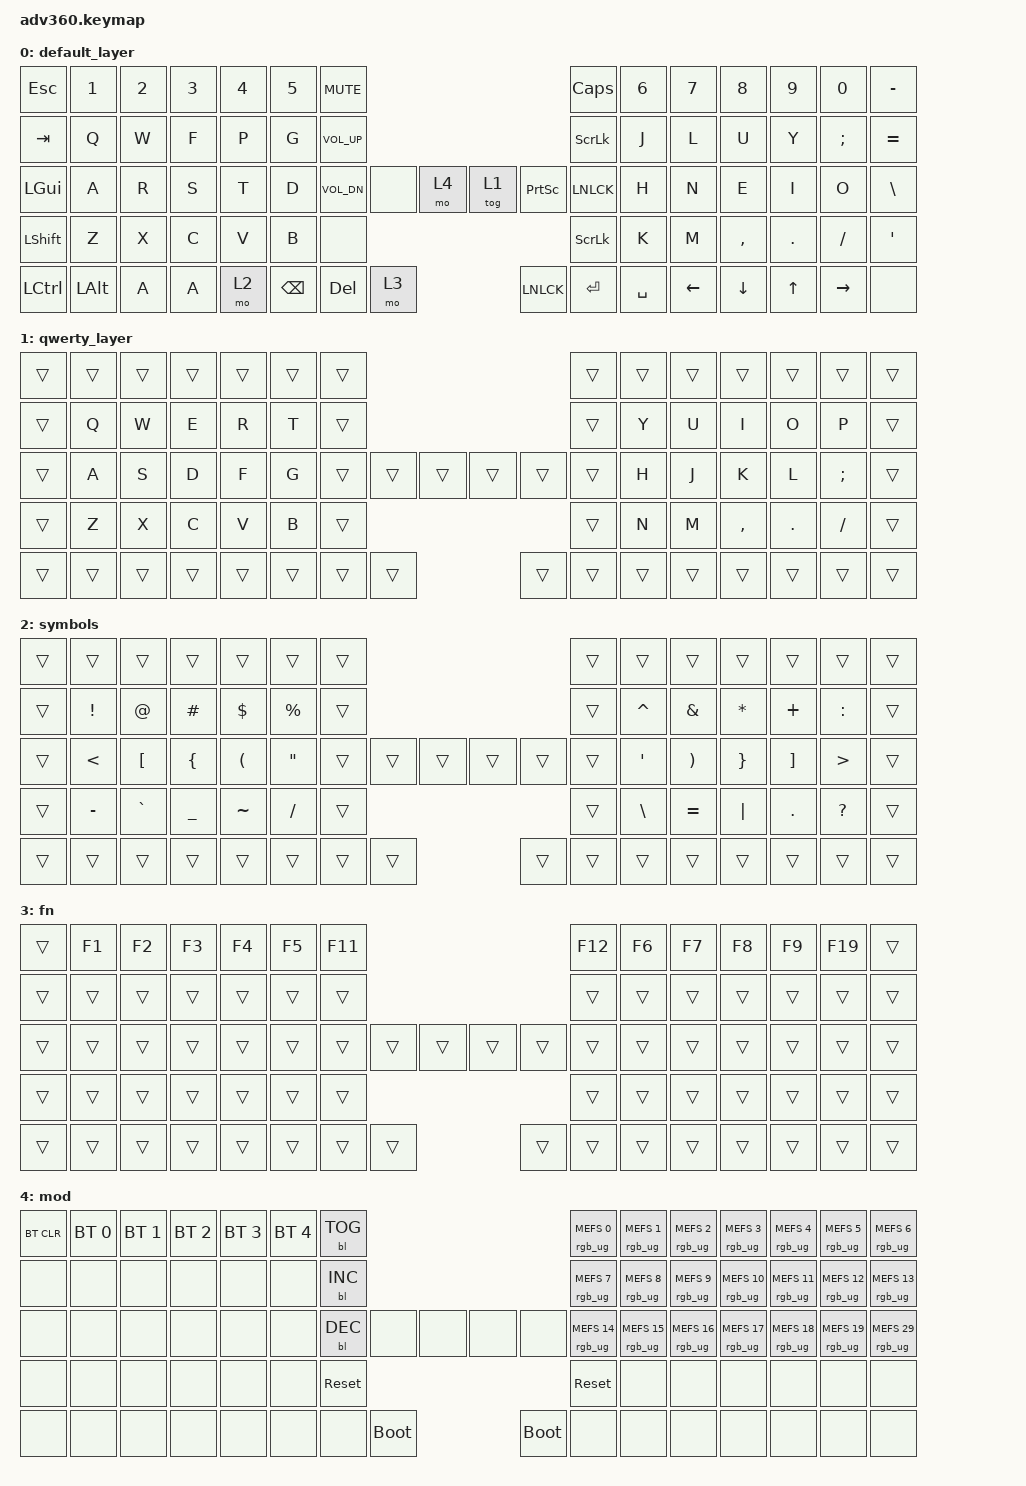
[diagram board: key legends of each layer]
#include <behaviors.dtsi>
#include <dt-bindings/zmk/keys.h>
#include <dt-bindings/zmk/bt.h>
#include <dt-bindings/zmk/rgb.h>
#include <dt-bindings/zmk/backlight.h>

/ {
    behaviors {
      #include "macros.dtsi"

      hm: homerow_mods {
          compatible = "zmk,behavior-hold-tap";
          label = "HOMEROW_MODS";
          #binding-cells = <2>;
          tapping-term-ms = <200>;
          quick_tap_ms = <175>;
          flavor = "tap-preferred";
          bindings = <&kp>, <&kp>;
      };
    };

  keymap {
    compatible = "zmk,keymap";

/* Kinesis Advantage 360 Pro KEY MATRIX / LAYOUT MAPPING
 ╭────────────────────╮              ╭────────────────────╮
 │ 0  1  2  3  4  5  6│              │ 7  8  9 10 11 12 13│
 │14 15 16 17 18 19 20│              │21 22 23 24 25 26 27│
 │28 29 30 31 32 33 34│╭─────╮╭─────╮│39 40 41 42 43 44 45│
 │46 47 48 49 50 51╭──╯│35 36││37 38│╰──╮54 55 56 57 58 59│
 │60 61 62 63 64╭──╯╭──╯   52││53   ╰──╮╰──╮71 72 73 74 75│
 ╰──────────────╯   │65 66 67││68 69 70│   ╰──────────────╯
                    ╰────────╯╰────────╯
*/
#define KEYS_L 0 1 2 3 4 5 6 14 15 16 17 18 19 20 28 29 30 31 32 33 34 46 47 48 49 50 51 60 61 62 63 64
#define KEYS_R 7 8 9 10 11 12 13 21 22 23 24 25 26 27 39 40 41 42 43 44 45 54 55 56 57 58 59 71 72 73 74 75
#define KEYS_T 35 36 37 38 52 53 65 66 67 68 69 70

    default_layer {
      bindings = <
// ╭─────────┬────────┬────────┬────────┬─────────┬──────┬──────╮                                                            ╭─────┬──────┬────────┬─────────┬────────┬─────────┬─────────╮ 
    &kp ESC   &kp N1   &kp N2   &kp N3   &kp N4    &kp N5 &kp C_MUTE                                                       &kp CAPS &kp N6 &kp N7   &kp N8    &kp N9   &kp N0    &kp MINUS
// ├─────────┼────────┼────────┼────────┼─────────┼──────┼──────┤                                                            ├─────┼──────┼────────┼─────────┼────────┼─────────┼─────────┤ 
    &kp TAB   &kp Q    &kp W    &kp F    &kp P     &kp G  &kp C_VOL_UP                                                     &kp SLCK &kp J  &kp L    &kp U     &kp Y    &kp SEMI  &kp EQUAL
// ├─────────┼────────┼────────┼────────┼─────────┼──────┼──────┤         ╭─────────┬────────╮╭─────────┬─────────╮          ├─────┼──────┼────────┼─────────┼────────┼─────────┼─────────┤
    &kp LGUI  &kp A    &kp R    &kp S    &kp T     &kp D  &kp C_VOL_DN     &none     &mo 4     &tog 1    &kp PSCRN        &kp LNLCK &kp H  &kp N    &kp E     &kp I    &kp O     &kp BSLH
// ├─────────┼────────┼────────┼────────┼─────────┼──────┼──────╯╭────────┼─────────┼────────┤├─────────┼─────────┼─────────╮╰─────┼──────┼────────┼─────────┼────────┼─────────┼─────────┤
    &kp LSHFT &kp Z    &kp X    &kp C    &kp V     &kp B                             &none     &kp SLCK                           &kp K  &kp M    &kp COMMA &kp DOT  &kp FSLH  &kp SQT
// ├─────────┼────────┼────────┼────────┼─────────┼──────╯       │        │         ├────────┤├─────────┤         │         │      ╰──────┼────────┼─────────┼────────┼─────────┼─────────┤
    &kp LCTRL &kp LALT &kp A    &kp A    &mo 2                    &kp BSPC &kp DEL   &mo 3     &kp LNLCK &kp ENTER &kp SPACE               &kp LEFT &kp DOWN  &kp UP   &kp RIGHT &none
// ╰─────────┴────────┴────────┴────────┴─────────╯              ╰────────┴─────────┴────────╯╰─────────┴─────────┴─────────╯             ╰────────┴─────────┴────────┴─────────┴─────────╯
      >;
    };
    qwerty_layer {
      bindings = <
// ╭─────────┬────────┬────────┬────────┬─────────┬──────┬──────╮                                                            ╭─────┬──────┬────────┬─────────┬────────┬─────────┬─────────╮ 
    &trans    &trans   &trans   &trans   &trans    &trans &trans                                                             &trans &trans &trans   &trans    &trans   &trans    &trans
// ├─────────┼────────┼────────┼────────┼─────────┼──────┼──────┤                                                            ├─────┼──────┼────────┼─────────┼────────┼─────────┼─────────┤ 
    &trans    &kp Q    &kp W    &kp E    &kp R     &kp T  &trans                                                              &trans &kp Y  &kp U    &kp I     &kp O    &kp P     &trans
// ├─────────┼────────┼────────┼────────┼─────────┼──────┼──────┤         ╭─────────┬────────╮╭─────────┬─────────╮          ├─────┼──────┼────────┼─────────┼────────┼─────────┼─────────┤
    &trans    &kp A    &kp S    &kp D    &kp F     &kp G  &trans            &trans    &trans    &trans    &trans              &trans &kp H  &kp J    &kp K     &kp L    &kp SEMI  &trans
// ├─────────┼────────┼────────┼────────┼─────────┼──────┼──────╯╭────────┼─────────┼────────┤├─────────┼─────────┼─────────╮╰─────┼──────┼────────┼─────────┼────────┼─────────┼─────────┤
    &trans    &kp Z    &kp X    &kp C    &kp V     &kp B                             &trans    &trans                               &kp N  &kp M    &kp COMMA &kp DOT  &kp FSLH  &trans
// ├─────────┼────────┼────────┼────────┼─────────┼──────╯       │        │         ├────────┤├─────────┤         │         │      ╰──────┼────────┼─────────┼────────┼─────────┼─────────┤
    &trans    &trans   &trans   &trans   &trans                   &trans   &trans    &trans    &trans    &trans    &trans                  &trans   &trans    &trans   &trans    &trans
// ╰─────────┴────────┴────────┴────────┴─────────╯              ╰────────┴─────────┴────────╯╰─────────┴─────────┴─────────╯             ╰────────┴─────────┴────────┴─────────┴─────────╯
      >;
    };
    symbols {
      bindings = <
// ╭─────────┬────────┬────────┬────────┬─────────┬──────┬──────╮                                                            ╭─────┬──────┬────────┬─────────┬────────┬─────────┬─────────╮ 
    &trans    &trans   &trans   &trans   &trans    &trans &trans                                                             &trans &trans &trans   &trans    &trans   &trans    &trans
// ├─────────┼────────┼────────┼────────┼─────────┼──────┼──────┤                                                            ├─────┼──────┼────────┼─────────┼────────┼─────────┼─────────┤ 
    &trans &kp EXCL &kp AT &kp HASH &kp DOLLAR &kp PERCENT &trans                                                            &trans &kp CARET &kp AMPS &kp STAR &kp PLUS &kp COLON  &trans
// ├─────────┼────────┼────────┼────────┼─────────┼──────┼──────┤         ╭─────────┬────────╮╭─────────┬─────────╮          ├─────┼──────┼────────┼─────────┼────────┼─────────┼─────────┤
    &trans    &kp LT   &kp LBKT &kp LBRC &kp LPAR &kp DQT &trans           &trans    &trans    &trans    &trans              &trans &kp SQT &kp RPAR &kp RBRC &kp RBKT &kp GT    &trans
// ├─────────┼────────┼────────┼────────┼─────────┼──────┼──────╯╭────────┼─────────┼────────┤├─────────┼─────────┼─────────╮╰─────┼──────┼────────┼─────────┼────────┼─────────┼─────────┤
    &trans &kp MINUS &kp GRAVE &kp UNDER &kp TILDE &kp FSLH                          &trans    &trans                             &kp BSLH &kp EQUAL &kp PIPE &kp DOT  &kp QMARK &trans
// ├─────────┼────────┼────────┼────────┼─────────┼──────╯       │        │         ├────────┤├─────────┤         │         │      ╰──────┼────────┼─────────┼────────┼─────────┼─────────┤
    &trans    &trans   &trans   &trans   &trans                   &trans   &trans    &trans    &trans    &trans    &trans                  &trans   &trans    &trans   &trans    &trans
// ╰─────────┴────────┴────────┴────────┴─────────╯              ╰────────┴─────────┴────────╯╰─────────┴─────────┴─────────╯             ╰────────┴─────────┴────────┴─────────┴─────────╯
      >;
    };
    fn {
      bindings = <
// ╭─────────┬────────┬────────┬────────┬─────────┬──────┬──────╮                                                            ╭─────┬──────┬────────┬─────────┬────────┬─────────┬─────────╮ 
    &trans    &kp F1   &kp F2   &kp F3   &kp F4    &kp F5 &kp F11                                                           &kp F12 &kp F6 &kp F7   &kp F8    &kp F9   &kp F19   &trans
// ├─────────┼────────┼────────┼────────┼─────────┼──────┼──────┤                                                            ├─────┼──────┼────────┼─────────┼────────┼─────────┼─────────┤ 
    &trans    &trans   &trans   &trans   &trans    &trans &trans                                                             &trans &trans &trans   &trans    &trans   &trans    &trans
// ├─────────┼────────┼────────┼────────┼─────────┼──────┼──────┤         ╭─────────┬────────╮╭─────────┬─────────╮          ├─────┼──────┼────────┼─────────┼────────┼─────────┼─────────┤
    &trans    &trans   &trans   &trans   &trans    &trans &trans          &trans     &trans    &trans    &trans              &trans &trans &trans   &trans    &trans   &trans    &trans
// ├─────────┼────────┼────────┼────────┼─────────┼──────┼──────╯╭────────┼─────────┼────────┤├─────────┼─────────┼─────────╮╰─────┼──────┼────────┼─────────┼────────┼─────────┼─────────┤
    &trans    &trans   &trans   &trans   &trans    &trans                            &trans    &trans                               &trans &trans   &trans    &trans   &trans    &trans
// ├─────────┼────────┼────────┼────────┼─────────┼──────╯       │        │         ├────────┤├─────────┤         │         │      ╰──────┼────────┼─────────┼────────┼─────────┼─────────┤
    &trans    &trans   &trans   &trans   &trans                   &trans   &trans    &trans    &trans    &trans    &trans                  &trans   &trans    &trans   &trans    &trans
// ╰─────────┴────────┴────────┴────────┴─────────╯              ╰────────┴─────────┴────────╯╰─────────┴─────────┴─────────╯             ╰────────┴─────────┴────────┴─────────┴─────────╯
      >;
    };
    mod {
      bindings = <
// ╭─────────┬────────┬────────┬────────┬─────────┬──────┬──────╮                                                            ╭─────┬──────┬────────┬─────────┬────────┬─────────┬─────────╮ 
&bt BT_CLR &bt BT_SEL 0 &bt BT_SEL 1 &bt BT_SEL 2 &bt BT_SEL 3 &bt BT_SEL 4 &bl BL_TOG                                        &rgb_ug RGB_MEFS_CMD 0 &rgb_ug RGB_MEFS_CMD 1 &rgb_ug RGB_MEFS_CMD 2 &rgb_ug RGB_MEFS_CMD 3 &rgb_ug RGB_MEFS_CMD 4 &rgb_ug RGB_MEFS_CMD 5 &rgb_ug RGB_MEFS_CMD 6
// ├─────────┼────────┼────────┼────────┼─────────┼──────┼──────┤                                                            ├─────┼──────┼────────┼─────────┼────────┼─────────┼─────────┤ 
    &none     &none    &none    &none    &none     &none  &bl BL_INC                                                          &rgb_ug RGB_MEFS_CMD 7 &rgb_ug RGB_MEFS_CMD 8 &rgb_ug RGB_MEFS_CMD 9 &rgb_ug RGB_MEFS_CMD 10 &rgb_ug RGB_MEFS_CMD 11 &rgb_ug RGB_MEFS_CMD 12 &rgb_ug RGB_MEFS_CMD 13
// ├─────────┼────────┼────────┼────────┼─────────┼──────┼──────┤         ╭─────────┬────────╮╭─────────┬─────────╮          ├─────┼──────┼────────┼─────────┼────────┼─────────┼─────────┤
    &none     &none    &none    &none    &none     &none  &bl BL_DEC       &none     &none     &none     &none                &rgb_ug RGB_MEFS_CMD 14 &rgb_ug RGB_MEFS_CMD 15 &rgb_ug RGB_MEFS_CMD 16 &rgb_ug RGB_MEFS_CMD 17 &rgb_ug RGB_MEFS_CMD 18 &rgb_ug RGB_MEFS_CMD 19 &rgb_ug RGB_MEFS_CMD 29
// ├─────────┼────────┼────────┼────────┼─────────┼──────┼──────╯╭────────┼─────────┼────────┤├─────────┼─────────┼─────────╮╰─────┼──────┼────────┼─────────┼────────┼─────────┼─────────┤
    &none     &none    &none    &none    &none     &none                             &sys_reset &sys_reset                                &none  &none    &none     &none    &none     &none
// ├─────────┼────────┼────────┼────────┼─────────┼──────╯       │        │         ├────────┤├─────────┤         │         │      ╰──────┼────────┼─────────┼────────┼─────────┼─────────┤
    &none     &none    &none    &none    &none                    &none    &none     &bootloader &bootloader     &none     &none                   &none    &none     &none    &none     &none
// ╰─────────┴────────┴────────┴────────┴─────────╯              ╰────────┴─────────┴────────╯╰─────────┴─────────┴─────────╯             ╰────────┴─────────┴────────┴─────────┴─────────╯
      >;
    };
  };
};
    // &trans    &trans   &trans   &trans   &trans    &trans &trans                                                             &trans &trans &trans   &trans    &trans   &trans    &trans
    // &trans    &trans   &trans   &trans   &trans    &trans &trans                                                             &trans &trans &trans   &trans    &trans   &trans    &trans
    // &trans    &trans   &trans   &trans   &trans    &trans &trans           &trans    &trans    &trans    &trans              &trans &trans &trans   &trans    &trans   &trans    &trans
    // &trans    &trans   &trans   &trans   &trans    &trans                            &trans    &trans                               &trans &trans   &trans    &trans   &trans    &trans
    // &trans    &trans   &trans   &trans   &trans                   &trans   &trans    &trans    &trans    &trans    &trans                  &trans   &trans    &trans   &trans    &trans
